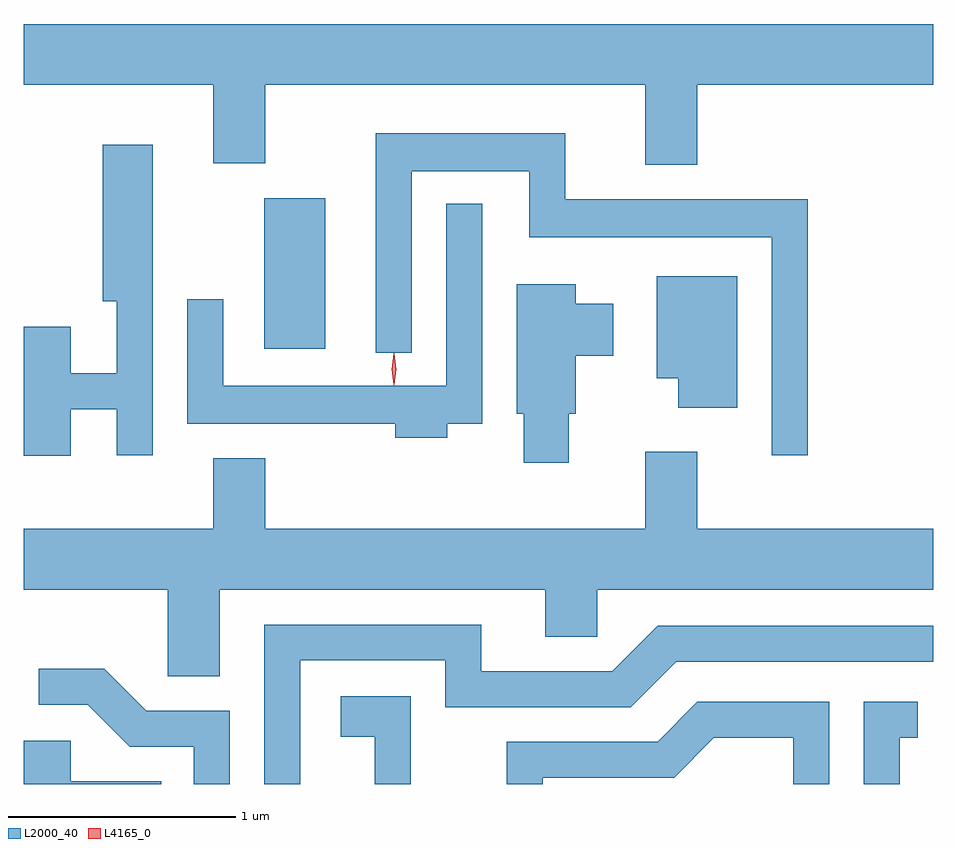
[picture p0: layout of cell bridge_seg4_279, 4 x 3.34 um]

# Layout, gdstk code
import gdstk
lib = gdstk.Library(unit=1e-6, precision=1e-09)
def R(c, l, rs):  # rectangles x0, y0, x1, y1
    for r in rs: c.add(gdstk.rectangle(r[:2], r[2:], *l))
def P(c, l, *ps):  # polygons
    for p in ps: c.add(gdstk.Polygon(p, *l))
L2000_40 = (2000, 40)
L4165_0 = (4165, 0)

bridge_seg4_279 = lib.new_cell('bridge_seg4_279')
R(bridge_seg4_279, L2000_40, [(521.256,1335.756,521.524,1336.419)])
P(bridge_seg4_279, L2000_40, [(523.159,1336.916),(524.197,1336.916),(524.197,1337.184),(520.197,1337.184),(520.197,1336.916),(521.031,1336.916),(521.031,1336.571),(521.259,1336.571),(521.259,1336.916),(522.931,1336.916),(522.931,1336.566),(523.159,1336.566)],
  [(523.644,1336.414),(522.579,1336.414),(522.579,1336.704),(521.746,1336.704),(521.746,1335.738),(521.904,1335.738),(521.904,1336.536),(522.421,1336.536),(522.421,1336.246),(523.486,1336.246),(523.486,1335.288),(523.644,1335.288)],
  [(520.404,1335.491),(520.606,1335.491),(520.606,1335.288),(520.764,1335.288),(520.764,1336.654),(520.546,1336.654),(520.546,1335.966),(520.606,1335.966),(520.606,1335.649),(520.404,1335.649),(520.404,1335.854),(520.197,1335.854),(520.197,1335.286),(520.404,1335.286)],
  [(522.059,1335.426),(522.214,1335.426),(522.214,1336.393),(522.056,1336.393),(522.056,1335.594),(521.074,1335.594),(521.074,1335.973),(520.916,1335.973),(520.916,1335.426),(521.831,1335.426),(521.831,1335.366),(522.059,1335.366)],
  [(523.334,1336.074),(522.981,1336.074),(522.981,1335.626),(523.076,1335.626),(523.076,1335.496),(523.334,1335.496)],
  [(522.594,1335.471),(522.624,1335.471),(522.624,1335.726),(522.789,1335.726),(522.789,1335.954),(522.624,1335.954),(522.624,1336.039),(522.366,1336.039),(522.366,1335.471),(522.396,1335.471),(522.396,1335.256),(522.594,1335.256)],
  [(521.059,1334.696),(522.491,1334.696),(522.491,1334.491),(522.719,1334.491),(522.719,1334.696),(524.197,1334.696),(524.197,1334.964),(523.159,1334.964),(523.159,1335.304),(522.931,1335.304),(522.931,1334.964),(521.259,1334.964),(521.259,1335.274),(521.031,1335.274),(521.031,1334.964),(520.197,1334.964),(520.197,1334.696),(520.831,1334.696),(520.831,1334.316),(521.059,1334.316)],
  [(521.414,1334.386),(522.051,1334.386),(522.051,1334.181),(522.867,1334.181),(523.067,1334.381),(524.197,1334.381),(524.197,1334.539),(522.984,1334.539),(522.784,1334.339),(522.209,1334.339),(522.209,1334.544),(521.256,1334.544),(521.256,1333.843),(521.414,1333.843)],
  [(521.104,1334.164),(520.737,1334.164),(520.552,1334.349),(520.263,1334.349),(520.263,1334.191),(520.479,1334.191),(520.664,1334.006),(520.946,1334.006),(520.946,1333.843),(521.104,1333.843)],
  [(521.899,1334.229),(521.591,1334.229),(521.591,1334.051),(521.741,1334.051),(521.741,1333.843),(521.899,1333.843)],
  [(522.479,1333.871),(523.057,1333.871),(523.232,1334.046),(523.581,1334.046),(523.581,1333.843),(523.739,1333.843),(523.739,1334.204),(523.159,1334.204),(522.984,1334.029),(522.321,1334.029),(522.321,1333.843),(522.479,1333.843)],
  [(524.049,1334.046),(524.128,1334.046),(524.128,1334.204),(523.891,1334.204),(523.891,1333.843),(524.049,1333.843)],
  [(520.803,1333.854),(520.404,1333.854),(520.404,1334.034),(520.197,1334.034),(520.197,1333.843),(520.803,1333.843)])
P(bridge_seg4_279, L4165_0, [(521.825,1335.599),(521.824,1335.6),(521.815,1335.666),(521.824,1335.732),(521.825,1335.733),(521.825,1335.732),(521.835,1335.666),(521.825,1335.6)],
  [(521.825,1335.597),(521.824,1335.598),(521.815,1335.666),(521.824,1335.736),(521.825,1335.736),(521.826,1335.736),(521.835,1335.666),(521.826,1335.598)])

lib.write_gds('bridge_seg4_279.gds')
